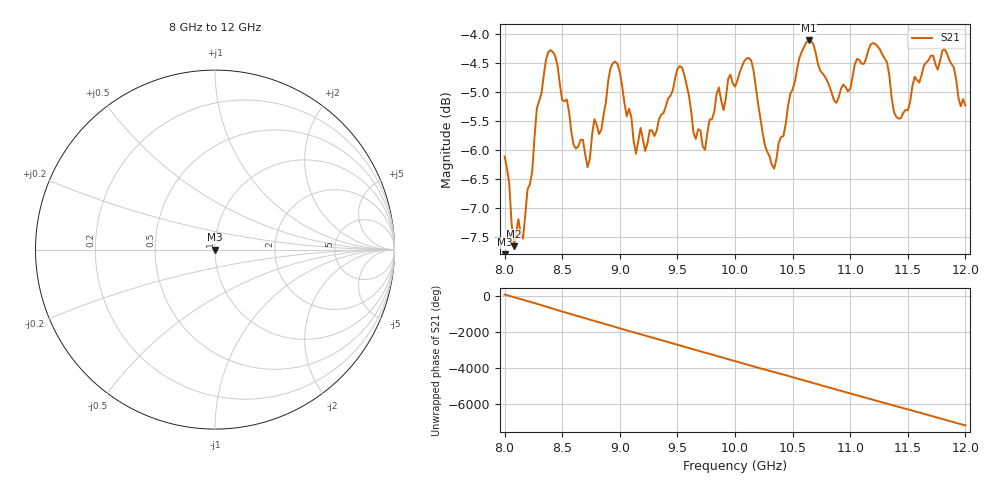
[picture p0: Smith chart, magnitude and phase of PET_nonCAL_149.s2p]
#  HZ  S  DB  R  50.00
! Rohde & Schwarz ZVA67 4Ports - Version 3.60 - 1305.7002k04 SN: 101051
! Date: 2012-04-04 15:42:24
! Measurements: S11 S21 S12 S22
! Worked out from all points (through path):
!   201 points, 8 GHz to 12 GHz, reference 50 ohm
!   highest |S21| = -4.11 dB at 10.64 GHz (marker M1); lowest = -7.7 dB at 8.08 GHz (marker M2)
!   lowest |S11| = - dB at 8 GHz (marker M3), VSWR 1.00, Z = 50 + j0 ohm
!   |S11| at or under -10 dB: start of sweep to end of sweep
!   S12 and S22 are empty: the file has one direction only
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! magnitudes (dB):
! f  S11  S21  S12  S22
! 8 GHz  -  -6.1  -  -
! 8.08 GHz  -  -7.7  -  -
! 8.16 GHz  -  -7.5  -  -
! 8.38 GHz  -  -4.3  -  -
! 8.68 GHz  -  -5.8  -  -
! 8.72 GHz  -  -6.3  -  -
! 8.96 GHz  -  -4.5  -  -
! 9.14 GHz  -  -6.1  -  -
! 9.34 GHz  -  -5.5  -  -
! 9.54 GHz  -  -4.6  -  -
! 9.74 GHz  -  -6.0  -  -
! 10 GHz  -  -4.9  -  -
! 10.14 GHz  -  -4.4  -  -
! 10.34 GHz  -  -6.3  -  -
! 10.64 GHz  -  -4.1  -  -
! 10.68 GHz  -  -4.2  -  -
! 10.88 GHz  -  -5.2  -  -
! 11.18 GHz  -  -4.2  -  -
! 11.34 GHz  -  -4.7  -  -
! 11.44 GHz  -  -5.5  -  -
! 11.82 GHz  -  -4.3  -  -
! 12 GHz  -  -5.2  -  -
